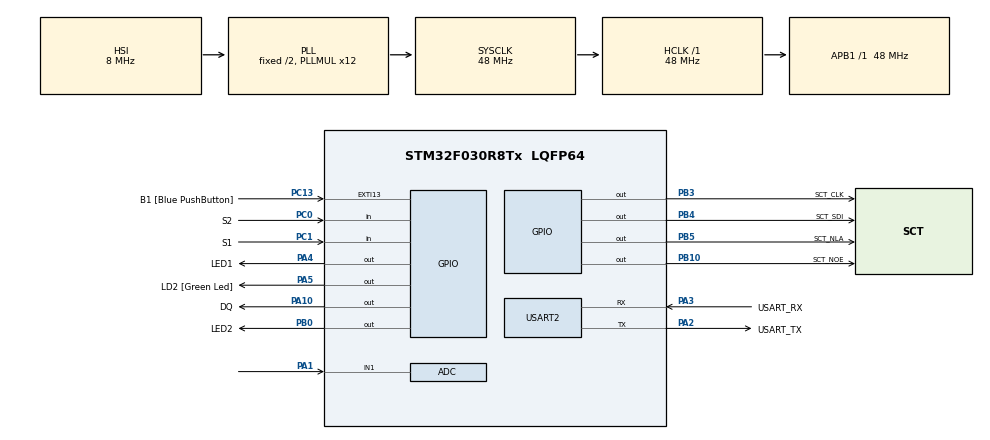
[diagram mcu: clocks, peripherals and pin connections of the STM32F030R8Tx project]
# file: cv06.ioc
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ADC.ContinuousConvMode=ENABLE
ADC.Overrun=ADC_OVR_DATA_OVERWRITTEN
ADC.Resolution=ADC_RESOLUTION_10B
Mcu.Family=STM32F0
Mcu.Name=STM32F030R8Tx
Mcu.Package=LQFP64
PA1.Mode=IN1
PA1.Signal=ADC_IN1
PA10.GPIO_Label=DQ
PA10.GPIO_ModeDefaultOutputPP=GPIO_MODE_OUTPUT_OD
PA10.GPIO_PuPd=GPIO_NOPULL
PA10.PinState=GPIO_PIN_SET
PA10.Signal=GPIO_Output
PA13.GPIO_Label=TMS
PA13.Mode=Serial_Wire
PA13.Signal=SYS_SWDIO
PA14.GPIO_Label=TCK
PA14.Mode=Serial_Wire
PA14.Signal=SYS_SWCLK
PA2.GPIO_Label=USART_TX
PA2.GPIO_Mode=GPIO_MODE_AF_PP
PA2.GPIO_PuPd=GPIO_NOPULL
PA2.GPIO_Speed=GPIO_SPEED_FREQ_LOW
PA2.Mode=Asynchronous
PA2.Signal=USART2_TX
PA3.GPIO_Label=USART_RX
PA3.GPIO_Mode=GPIO_MODE_AF_PP
PA3.GPIO_PuPd=GPIO_NOPULL
PA3.GPIO_Speed=GPIO_SPEED_FREQ_LOW
PA3.Mode=Asynchronous
PA3.Signal=USART2_RX
PA4.GPIO_Label=LED1
PA4.Signal=GPIO_Output
PA5.GPIO_Label=LD2 [Green Led]
PA5.GPIO_Mode=GPIO_MODE_OUTPUT_PP
PA5.GPIO_PuPd=GPIO_NOPULL
PA5.GPIO_Speed=GPIO_SPEED_FREQ_LOW
PA5.Signal=GPIO_Output
PB0.GPIO_Label=LED2
PB0.Signal=GPIO_Output
PB10.GPIO_Label=SCT_NOE
PB10.Signal=GPIO_Output
PB3.GPIO_Label=SCT_CLK
PB3.Signal=GPIO_Output
PB4.GPIO_Label=SCT_SDI
PB4.Signal=GPIO_Output
PB5.GPIO_Label=SCT_NLA
PB5.Signal=GPIO_Output
PC0.GPIO_Label=S2
PC0.GPIO_PuPd=GPIO_PULLUP
PC0.Signal=GPIO_Input
PC1.GPIO_Label=S1
PC1.GPIO_PuPd=GPIO_PULLUP
PC1.Signal=GPIO_Input
PC13.GPIO_Label=B1 [Blue PushButton]
PC13.GPIO_ModeDefaultEXTI=GPIO_MODE_IT_FALLING
PC13.Signal=GPXTI13
PC14-OSC32_IN.Mode=LSE-External-Oscillator
PC14-OSC32_IN.Signal=RCC_OSC32_IN
PC15-OSC32_OUT.Mode=LSE-External-Oscillator
PC15-OSC32_OUT.Signal=RCC_OSC32_OUT
PF0-OSC_IN.Mode=HSE-External-Clock-Source
PF0-OSC_IN.Signal=RCC_OSC_IN
PF1-OSC_OUT.Signal=RCC_OSC_OUT
ProjectManager.HeapSize=0x200
ProjectManager.StackSize=0x400
ProjectManager.TargetToolchain=STM32CubeIDE
RCC.AHBFreq_Value=48000000
RCC.APB1Freq_Value=48000000
RCC.APB1TimFreq_Value=48000000
RCC.HCLKFreq_Value=48000000
RCC.PLLMUL=RCC_PLL_MUL12
RCC.SYSCLKFreq_VALUE=48000000
RCC.SYSCLKSource=RCC_SYSCLKSOURCE_PLLCLK
USART2.VirtualMode-Asynchronous=VM_ASYNC
board=NUCLEO-F030R8

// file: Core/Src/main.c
/* USER CODE BEGIN Header */
/**
  ******************************************************************************
  * @file           : main.c
  * @brief          : Main program body
  ******************************************************************************
  * @attention
  *
  * Copyright (c) 2022 STMicroelectronics.
  * All rights reserved.
  *
  * This software is licensed under terms that can be found in the LICENSE file
  * in the root directory of this software component.
  * If no LICENSE file comes with this software, it is provided AS-IS.
  *
  ******************************************************************************
  */
/* USER CODE END Header */
#include "main.h"

/* USER CODE BEGIN Includes */
#include "1wire.h"
#include "sct.h"
#include "ntcData.h"
/* USER CODE END Includes */

/* USER CODE BEGIN PD */
#define DIG_WAIT 750
#define AN_WAIT 100
/* USER CODE END PD */

ADC_HandleTypeDef hadc;

UART_HandleTypeDef huart2;

void SystemClock_Config(void);
static void MX_GPIO_Init(void);
static void MX_USART2_UART_Init(void);
static void MX_ADC_Init(void);

int main(void)
{

  /* MCU Configuration--------------------------------------------------------*/

  /* Reset of all peripherals, Initializes the Flash interface and the Systick. */
  HAL_Init();

  /* Configure the system clock */
  SystemClock_Config();

  /* Initialize all configured peripherals */
  MX_GPIO_Init();
  MX_USART2_UART_Init();
  MX_ADC_Init();
  /* USER CODE BEGIN 2 */
  HAL_ADCEx_Calibration_Start(&hadc);
  HAL_ADC_Start(&hadc);

  OWInit();									// Initialize 1-wire communication and the 7-segment disp. driver
  sct_init();
  static uint8_t TickFlag = 1;
  static uint32_t InitTick = 0;
  static uint8_t DidIDoIt = 0;
  /* USER CODE END 2 */

  /* Infinite loop */
  /* USER CODE BEGIN WHILE */
  while (1)
  {
	  int16_t temp_18b20;
	  uint16_t adc;
	  static enum {SHOW_DIG, SHOW_AN} state = SHOW_DIG;
	  // read from digital sensor
	  if(state==SHOW_DIG){

		  HAL_GPIO_WritePin(LED2_GPIO_Port, LED2_Pin, 1);		// turn on LED2
		  HAL_GPIO_WritePin(LED1_GPIO_Port, LED1_Pin, 0);		// turn off LED1
		  OWConvertAll();										// start data conversion from DS18B20
		  // get initial time, set flag LOW
		  if(TickFlag){
			  InitTick = HAL_GetTick();
			  TickFlag = 0;
		  }

		  if(HAL_GetTick()>=InitTick+DIG_WAIT){
			  OWReadTemperature(&temp_18b20);					// read converted data
			  sct_value(temp_18b20/10,DidIDoIt);				// display data on 7-segment display
			  TickFlag = 1;										// reset flag for getting initial Tick value
			  DidIDoIt = DidIDoIt^1;
		  }

		  if(!HAL_GPIO_ReadPin(S2_GPIO_Port, S2_Pin)) {state = SHOW_AN; TickFlag = 1;}		//check for button press => go to AN state
	  }
	  // read from analog sensor
	  else if(state==SHOW_AN){

		  HAL_GPIO_WritePin(LED1_GPIO_Port, LED1_Pin, 1);		// turn on LED1
		  HAL_GPIO_WritePin(LED2_GPIO_Port, LED2_Pin, 0);		// turn off LED2
		  // get initial Tick value, set flag low
		  if(TickFlag){
			  InitTick = HAL_GetTick();
			  TickFlag = 0;
		  }

		  if(HAL_GetTick()>=InitTick+AN_WAIT){
			  adc = HAL_ADC_GetValue(&hadc);					// read adc value; connected to NTCC-10K termistor
			  sct_value(NTC_LOOK[adc],DidIDoIt);				// find temp value at corresponding index in a lookup table
			  TickFlag = 1;
			  DidIDoIt = DidIDoIt^1;
		  }

		  if(!HAL_GPIO_ReadPin(S1_GPIO_Port, S1_Pin)) {state = SHOW_DIG; TickFlag = 1;}		//check for button press => go to DIG state
	  }

    /* USER CODE END WHILE */

  }
}

void SystemClock_Config(void)
{
  RCC_OscInitTypeDef RCC_OscInitStruct = {0};
  RCC_ClkInitTypeDef RCC_ClkInitStruct = {0};

  /** Initializes the RCC Oscillators according to the specified parameters
  * in the RCC_OscInitTypeDef structure.
  */
  RCC_OscInitStruct.OscillatorType = RCC_OSCILLATORTYPE_HSI|RCC_OSCILLATORTYPE_HSI14;
  RCC_OscInitStruct.HSIState = RCC_HSI_ON;
  RCC_OscInitStruct.HSI14State = RCC_HSI14_ON;
  RCC_OscInitStruct.HSICalibrationValue = RCC_HSICALIBRATION_DEFAULT;
  RCC_OscInitStruct.HSI14CalibrationValue = 16;
  RCC_OscInitStruct.PLL.PLLState = RCC_PLL_ON;
  RCC_OscInitStruct.PLL.PLLSource = RCC_PLLSOURCE_HSI;
  RCC_OscInitStruct.PLL.PLLMUL = RCC_PLL_MUL12;
  RCC_OscInitStruct.PLL.PREDIV = RCC_PREDIV_DIV1;
  if (HAL_RCC_OscConfig(&RCC_OscInitStruct) != HAL_OK)
  {
    Error_Handler();
  }

  /** Initializes the CPU, AHB and APB buses clocks
  */
  RCC_ClkInitStruct.ClockType = RCC_CLOCKTYPE_HCLK|RCC_CLOCKTYPE_SYSCLK
                              |RCC_CLOCKTYPE_PCLK1;
  RCC_ClkInitStruct.SYSCLKSource = RCC_SYSCLKSOURCE_PLLCLK;
  RCC_ClkInitStruct.AHBCLKDivider = RCC_SYSCLK_DIV1;
  RCC_ClkInitStruct.APB1CLKDivider = RCC_HCLK_DIV1;

  if (HAL_RCC_ClockConfig(&RCC_ClkInitStruct, FLASH_LATENCY_1) != HAL_OK)
  {
    Error_Handler();
  }
}

static void MX_ADC_Init(void)
{

  ADC_ChannelConfTypeDef sConfig = {0};

  /** Configure the global features of the ADC (Clock, Resolution, Data Alignment and number of conversion)
  */
  hadc.Instance = ADC1;
  hadc.Init.ClockPrescaler = ADC_CLOCK_ASYNC_DIV1;
  hadc.Init.Resolution = ADC_RESOLUTION_10B;
  hadc.Init.DataAlign = ADC_DATAALIGN_RIGHT;
  hadc.Init.ScanConvMode = ADC_SCAN_DIRECTION_FORWARD;
  hadc.Init.EOCSelection = ADC_EOC_SINGLE_CONV;
  hadc.Init.LowPowerAutoWait = DISABLE;
  hadc.Init.LowPowerAutoPowerOff = DISABLE;
  hadc.Init.ContinuousConvMode = ENABLE;
  hadc.Init.DiscontinuousConvMode = DISABLE;
  hadc.Init.ExternalTrigConv = ADC_SOFTWARE_START;
  hadc.Init.ExternalTrigConvEdge = ADC_EXTERNALTRIGCONVEDGE_NONE;
  hadc.Init.DMAContinuousRequests = DISABLE;
  hadc.Init.Overrun = ADC_OVR_DATA_OVERWRITTEN;
  if (HAL_ADC_Init(&hadc) != HAL_OK)
  {
    Error_Handler();
  }

  /** Configure for the selected ADC regular channel to be converted.
  */
  sConfig.Channel = ADC_CHANNEL_1;
  sConfig.Rank = ADC_RANK_CHANNEL_NUMBER;
  sConfig.SamplingTime = ADC_SAMPLETIME_1CYCLE_5;
  if (HAL_ADC_ConfigChannel(&hadc, &sConfig) != HAL_OK)
  {
    Error_Handler();
  }

}

static void MX_USART2_UART_Init(void)
{

  huart2.Instance = USART2;
  huart2.Init.BaudRate = 38400;
  huart2.Init.WordLength = UART_WORDLENGTH_8B;
  huart2.Init.StopBits = UART_STOPBITS_1;
  huart2.Init.Parity = UART_PARITY_NONE;
  huart2.Init.Mode = UART_MODE_TX_RX;
  huart2.Init.HwFlowCtl = UART_HWCONTROL_NONE;
  huart2.Init.OverSampling = UART_OVERSAMPLING_16;
  huart2.Init.OneBitSampling = UART_ONE_BIT_SAMPLE_DISABLE;
  huart2.AdvancedInit.AdvFeatureInit = UART_ADVFEATURE_NO_INIT;
  if (HAL_UART_Init(&huart2) != HAL_OK)
  {
    Error_Handler();
  }

}

static void MX_GPIO_Init(void)
{
  GPIO_InitTypeDef GPIO_InitStruct = {0};

  /* GPIO Ports Clock Enable */
  __HAL_RCC_GPIOC_CLK_ENABLE();
  __HAL_RCC_GPIOF_CLK_ENABLE();
  __HAL_RCC_GPIOA_CLK_ENABLE();
  __HAL_RCC_GPIOB_CLK_ENABLE();

  /*Configure GPIO pin Output Level */
  HAL_GPIO_WritePin(GPIOA, LED1_Pin|LD2_Pin, GPIO_PIN_RESET);

  /*Configure GPIO pin Output Level */
  HAL_GPIO_WritePin(GPIOB, LED2_Pin|SCT_NOE_Pin|SCT_CLK_Pin|SCT_SDI_Pin
                          |SCT_NLA_Pin, GPIO_PIN_RESET);

  /*Configure GPIO pin Output Level */
  HAL_GPIO_WritePin(DQ_GPIO_Port, DQ_Pin, GPIO_PIN_SET);

  /*Configure GPIO pin : B1_Pin */
  GPIO_InitStruct.Pin = B1_Pin;
  GPIO_InitStruct.Mode = GPIO_MODE_IT_FALLING;
  GPIO_InitStruct.Pull = GPIO_NOPULL;
  HAL_GPIO_Init(B1_GPIO_Port, &GPIO_InitStruct);

  /*Configure GPIO pins : S2_Pin S1_Pin */
  GPIO_InitStruct.Pin = S2_Pin|S1_Pin;
  GPIO_InitStruct.Mode = GPIO_MODE_INPUT;
  GPIO_InitStruct.Pull = GPIO_PULLUP;
  HAL_GPIO_Init(GPIOC, &GPIO_InitStruct);

  /*Configure GPIO pins : LED1_Pin LD2_Pin */
  GPIO_InitStruct.Pin = LED1_Pin|LD2_Pin;
  GPIO_InitStruct.Mode = GPIO_MODE_OUTPUT_PP;
  GPIO_InitStruct.Pull = GPIO_NOPULL;
  GPIO_InitStruct.Speed = GPIO_SPEED_FREQ_LOW;
  HAL_GPIO_Init(GPIOA, &GPIO_InitStruct);

  /*Configure GPIO pins : LED2_Pin SCT_NOE_Pin SCT_CLK_Pin SCT_SDI_Pin
                           SCT_NLA_Pin */
  GPIO_InitStruct.Pin = LED2_Pin|SCT_NOE_Pin|SCT_CLK_Pin|SCT_SDI_Pin
                          |SCT_NLA_Pin;
  GPIO_InitStruct.Mode = GPIO_MODE_OUTPUT_PP;
  GPIO_InitStruct.Pull = GPIO_NOPULL;
  GPIO_InitStruct.Speed = GPIO_SPEED_FREQ_LOW;
  HAL_GPIO_Init(GPIOB, &GPIO_InitStruct);

  /*Configure GPIO pin : DQ_Pin */
  GPIO_InitStruct.Pin = DQ_Pin;
  GPIO_InitStruct.Mode = GPIO_MODE_OUTPUT_OD;
  GPIO_InitStruct.Pull = GPIO_NOPULL;
  GPIO_InitStruct.Speed = GPIO_SPEED_FREQ_LOW;
  HAL_GPIO_Init(DQ_GPIO_Port, &GPIO_InitStruct);

}

void Error_Handler(void)
{
  __disable_irq();
  while (1)
  {
  }
}
